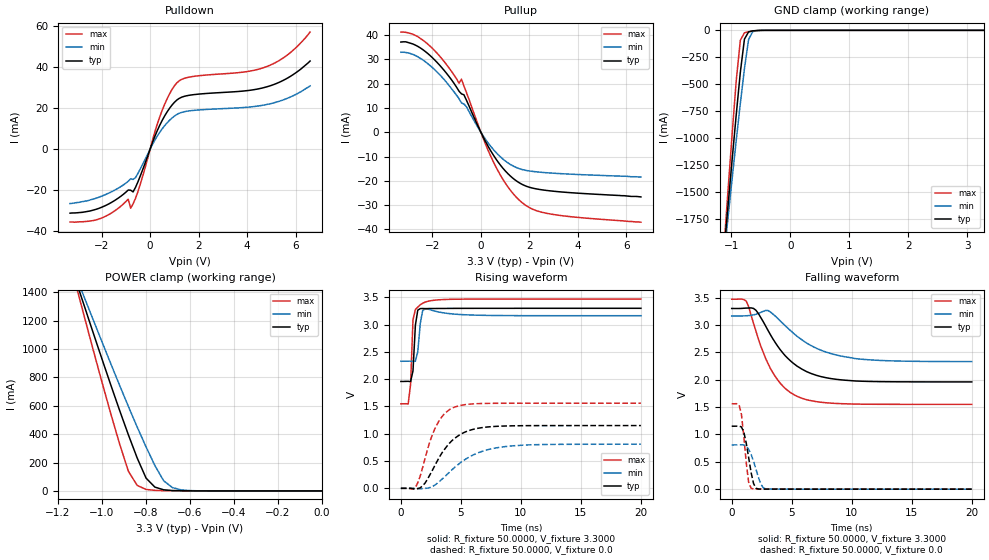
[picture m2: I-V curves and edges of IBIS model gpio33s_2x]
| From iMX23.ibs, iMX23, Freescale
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|   Model gpio33s_2x
[Model]  gpio33s_2x
Model_type I/O
Polarity   Non-Inverting
Enable   Active-Low
Vinl =   0.8000V
Vinh =   2.0000V
Vmeas =  1.6500V
Cref =   30.0000pF
Rref =   50.0000
Vref =   1.6500V
C_comp   3.0000pF   2.0000pF   4.0000pF
[Temperature Range]   50.0000   100.0000   0.0
[Voltage Range]   3.3000V   3.0000V   3.6000V
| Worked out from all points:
|   slope of the pulldown table from 0 to 0.495 V, typ, clamps not added: 35.5 ohm
|   slope of the pullup table from 0 to 0.495 V, typ, clamps not added: 54.5 ohm
|   GND clamp passes 1 mA (typ) near -0.53 V on its own axis
|   POWER clamp passes 1 mA (typ) near -0.63 V on its own axis
|   rising waveform, R_fixture 50.0000, V_fixture 3.3000: 20-80 % time 212ps typ, 205ps min, 195ps max; typ from 1.96 V to 3.3 V
|   rising waveform, R_fixture 50.0000, V_fixture 0.0: 20-80 % time 2.13ns typ, 2.99ns min, 1.48ns max; typ from 0 V to 1.15 V
|   falling waveform, R_fixture 50.0000, V_fixture 3.3000: 20-80 % time 2.9ns typ, 3.57ns min, 2.31ns max; typ from 3.3 V to 1.96 V
|   falling waveform, R_fixture 50.0000, V_fixture 0.0: 20-80 % time 559ps typ, 720ps min, 437ps max; typ from 1.15 V to 0 V
[Pulldown]
|Voltage   I(typ)   I(min)   I(max)
-3.3V     -31.1mA    -26.4mA    -35.4mA
-2V       -28.25mA   -22.85mA   -33.48mA
-900mV    -19.83mA   -15.56mA   -24.3mA
-800mV    -19.92mA   -14.36mA   -28.69mA
-700mV    -20.73mA   -14.69mA   -26.59mA
-600mV    -18.55mA   -13.84mA   -23.9mA
500mV     14.06mA    9.982mA    18.97mA
900mV     21.47mA    15.18mA    29.02mA
1.2V      24.79mA    17.54mA    33.35mA
4.8V      30.39mA    21.79mA    40.26mA
5.7V      34.9mA     25.03mA    46.28mA
6.6V      43mA       30.9mA     57.1mA
[Pullup]
|Voltage   I(typ)   I(min)   I(max)
-3.3V     37.1mA     32.9mA     41.2mA
-2.8V     36.29mA    31.99mA    40.3mA
-2.2V     32.47mA    28.29mA    36.36mA
-1.5V     25.26mA    21.51mA    28.9mA
-900mV    16.86mA    13.77mA    20.16mA
-800mV    15.79mA    12.05mA    21.82mA
-700mV    15.41mA    11.62mA    19.05mA
500mV     -9.157mA   -6.931mA   -11.86mA
1.1V      -16.9mA    -12.49mA   -22.28mA
1.7V      -21.44mA   -15.33mA   -28.95mA
2.9V      -24.16mA   -16.79mA   -33.68mA
6.6V      -26.6mA    -18.4mA    -37mA
[GND_clamp]
|Voltage   I(typ)   I(min)   I(max)
-3.3V     -16.05A    -13.81A    -19.4A
-1.13V    -2.072A    -2.112A    -2.035A
-1.06V    -1.636A    -1.745A    -1.497A
-990mV    -1.206A    -1.382A    -971.1mA
-920mV    -786.7mA   -1.025A    -470.7mA
-850mV    -390.5mA   -679.5mA   -92.21mA
-780mV    -81.38mA   -354.3mA   -23.04mA
-710mV    -14.58mA   -85.27mA   -12.47mA
-640mV    -4.818mA   -12.73mA   -6.689mA
-570mV    -1.703mA   -2.139mA   -2.771mA
3.28V     -344.8nA   4.18uA     -6.865uA
[POWER_clamp]
|Voltage   I(typ)   I(min)   I(max)
-3.28V    12.03A     10.28A     14.68A
-1.12V    1.489A     1.518A     1.459A
-1.08V    1.3A       1.361A     1.225A
-920mV    566.8mA    743.5mA    330.2mA
-880mV    394mA      594.3mA    137.8mA
-840mV    230.9mA    449.2mA    38.56mA
-800mV    90.47mA    310.1mA    10.5mA
-760mV    26.97mA    179.7mA    3.981mA
-720mV    7.883mA    71.6mA     2.263mA
-680mV    2.674mA    23.37mA    1.532mA
-560mV    297.8uA    770.1uA    384.8uA
0V        566.7pA    1.536nA    254.7pA
[Ramp]
| variable   typ   min   max
dV/dt_r  0.6901/2.1103n   0.4849/2.9589n   0.9359/1.4731n
dV/dt_f  0.8046/2.8727n   0.5753/3.7133n   1.0664/2.2536n
R_load = 50.0000
[Rising Waveform]
R_fixture= 50.0000
V_fixture= 3.3000
|time   V(typ)   V(min)   V(max)
0s        1.959V     2.329V     1.549V
610ps     1.962V     2.331V     1.547V
810ps     1.956V     2.332V     1.905V
1.01ns    2.154V     2.33V      3.088V
1.21ns    2.99V      2.33V      3.28V
1.41ns    3.267V     2.502V     3.322V
1.62ns    3.295V     3.026V     3.365V
1.82ns    3.296V     3.262V     3.393V
2.02ns    3.294V     3.289V     3.414V
20ns      3.3V       3.164V     3.47V
[Rising Waveform]
R_fixture= 50.0000
V_fixture= 0.0
|time   V(typ)   V(min)   V(max)
0s        0V         0V         0V
1.21ns    -15.49mV   -417.4uV   14.2mV
1.62ns    8.798mV    -10.97mV   230.4mV
2.02ns    96.56mV    -1.431mV   553.3mV
2.83ns    417.9mV    58.99mV    1.091V
3.64ns    714.6mV    209.9mV    1.369V
4.44ns    909.1mV    375.9mV    1.487V
6.26ns    1.093V     635.4mV    1.551V
8.48ns    1.141V     759.4mV    1.559V
20ns      1.15V      808.2mV    1.56V
[Falling Waveform]
R_fixture= 50.0000
V_fixture= 3.3000
|time   V(typ)   V(min)   V(max)
0s        3.3V       3.164V     3.47V
1.21ns    3.307V     3.167V     3.435V
2.02ns    3.268V     3.194V     2.886V
3.03ns    2.898V     3.262V     2.293V
3.64ns    2.674V     3.16V      2.054V
4.44ns    2.442V     2.989V     1.843V
5.66ns    2.219V     2.758V     1.676V
7.47ns    2.054V     2.535V     1.587V
10.3ns    1.976V     2.385V     1.554V
20ns      1.959V     2.33V      1.549V
[Falling Waveform]
R_fixture= 50.0000
V_fixture= 0.0
|time   V(typ)   V(min)   V(max)
0s        1.15V      808.3mV    1.56V
610ps     1.153V     809mV      1.545V
810ps     1.137V     810.4mV    1.368V
1.01ns    1.042V     808.5mV    967.2mV
1.41ns    581.1mV    730mV      128.3mV
1.62ns    301.6mV    634.4mV    15.39mV
2.02ns    17.98mV    366.2mV    1.362mV
2.42ns    1.857mV    97.36mV    1.125mV
2.83ns    1.124mV    5.769mV    839uV
20ns      2.934uV    4.933uV    1.607uV
